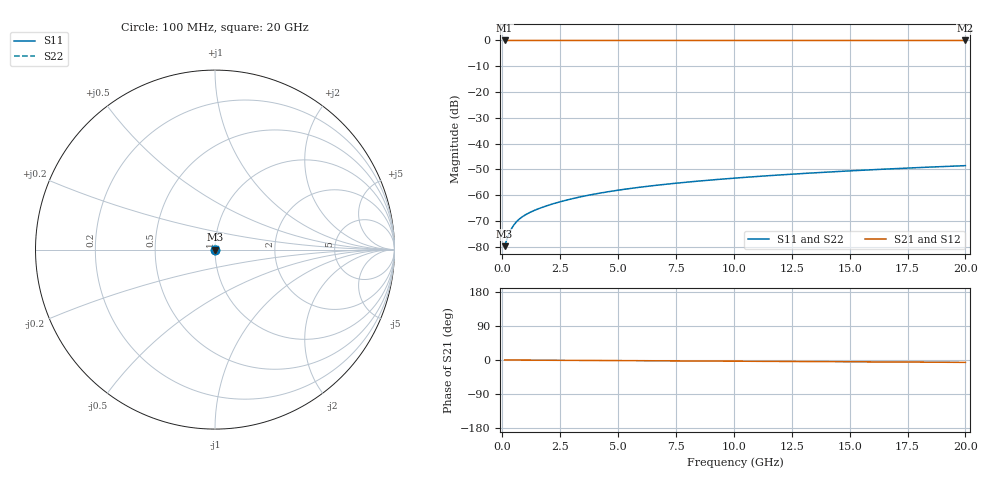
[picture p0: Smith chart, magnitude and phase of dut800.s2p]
! Touchstone file exported from HFSS 2026.1.0
!  File:  C:/ffzhzh/LocalFiles/Ansys_Project_Files/temp_train_TSV_800_1783184057_43440.aedt
!  Generated:  12:55:49 AM Jul  5, 2026
!  Design:  TSV
!  Project:  temp_train_TSV_800_1783184057_43440
! Variables:
!  h_bsmrdl = 2um
!  h_ox = 20um
!  h_rdl = 5um
!  h_sub = 59.07um
!  h_tmrdl = 5um
!  h_tsv = 59.07um
!  h_via = 3um
!  l_bsmrdl = 300um
!  l_sub = 422.08um
!  l_tmrdl = 200um
!  m_sub = 200um
!  pitch = 45.47um
!  r_tsv = 11.04um
!  s_tmrdl = 10um
!  w_bsmrdl = 18um
!  w_sub = 500um
!  w_tmrdl = 12um
!  x_tsv_center1 = 206um
!  x_tsv_center2 = 524um
!  x_tsv_center3 = 736um
!  x_tsv_center4 = 1054um
!  x_tsv_center5 = 1266um
!  x_tsv_center6 = 1584um
# GHz S MA R 50.000000
! Terminal data exported
! Port[1] = TSV1_1_T1
! Port[2] = TSV1_1_T2
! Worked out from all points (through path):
!   200 points, 100 MHz to 20 GHz, reference 50 ohm
!   highest |S21| = 0.00 dB at 100 MHz (marker M1); lowest = 0.0 dB at 20 GHz (marker M2)
!   lowest |S11| = -79.8 dB at 100 MHz (marker M3), VSWR 1.00, Z = 50 + j0.00509 ohm
!   |S11| at or under -10 dB: start of sweep to end of sweep
!   |S22| runs from -79.8 to -48.6 dB; largest |S21 - S12| = 3.1e-15
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0.1  0.0001023 29.8  0.9999 -0.0  0.9999 -0.0  0.0001023 29.8
! Gamma 0 0 0 0
! Port Impedance 50 0 50 0
0.2  0.0001399 45.3  0.9999 -0.1  0.9999 -0.1  0.0001399 45.3
0.3  0.0001827 51.9  0.9999 -0.1  0.9999 -0.1  0.0001827 51.9
0.4  0.0002248 54.7  0.9999 -0.1  0.9999 -0.1  0.0002248 54.7
0.5  0.0002639 55.9  0.9999 -0.2  0.9999 -0.2  0.0002639 55.9
0.6  0.0002996 56.3  0.9998 -0.2  0.9998 -0.2  0.0002996 56.3
0.7  0.0003321 56.6  0.9998 -0.2  0.9998 -0.2  0.0003321 56.6
0.9  0.0003895 56.9  0.9998 -0.3  0.9998 -0.3  0.0003895 56.9
1.1  0.00044 57.3  0.9998 -0.4  0.9998 -0.4  0.00044 57.3
1.3  0.0004866 58.0  0.9997 -0.4  0.9997 -0.4  0.0004866 58.0
1.9  0.000617 60.4  0.9997 -0.6  0.9997 -0.6  0.000617 60.4
2.6  0.0007647 62.7  0.9997 -0.8  0.9997 -0.8  0.0007647 62.7
3.5  0.0009508 64.7  0.9996 -1.1  0.9996 -1.1  0.0009508 64.7
4.2  0.001091 65.6  0.9996 -1.3  0.9996 -1.3  0.001091 65.6
5  0.001247 66.4  0.9995 -1.6  0.9995 -1.6  0.001247 66.4
5.9  0.001416 67.0  0.9995 -1.8  0.9995 -1.8  0.001416 67.0
6.8  0.001579 67.5  0.9994 -2.1  0.9994 -2.1  0.001579 67.5
8.3  0.001842 68.1  0.9994 -2.6  0.9994 -2.6  0.001842 68.1
10.1  0.002149 68.7  0.9993 -3.2  0.9993 -3.2  0.002149 68.7
13.4  0.002695 69.2  0.9992 -4.2  0.9992 -4.2  0.002695 69.2
16.7  0.003223 69.3  0.9991 -5.2  0.9991 -5.2  0.003223 69.3
20  0.003731 69.1  0.999 -6.2  0.999 -6.2  0.003731 69.0
